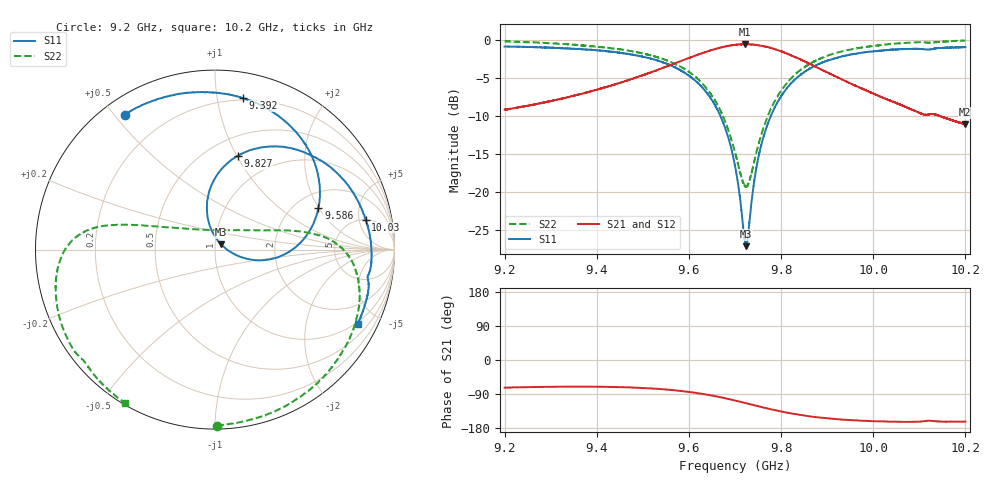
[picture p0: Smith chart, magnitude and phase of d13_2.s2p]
!Agilent Technologies,N5242A,MY51221714,A.09.90.19
!Agilent N5242A: A.09.90.19
!Date: Saturday, March 16, 2024 08:43:19
!Correction: S11(Full 2 Port(1,2))
!S21(Full 2 Port(1,2))
!S12(Full 2 Port(1,2))
!S22(Full 2 Port(1,2))
!S2P File: Measurements: S11, S21, S12, S22:
# Hz S  dB  R 50
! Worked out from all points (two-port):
!   16001 points, 9.2 GHz to 10.2 GHz, reference 50 ohm
!   highest |S21| = -0.57 dB at 9.722 GHz (marker M1); lowest = -11.1 dB at 10.2 GHz (marker M2)
!   |S21| within 3 dB of the highest: 9.548244 GHz to 9.548255 GHz (11.58 kHz wide, 0.000121 % of centre); 9.549 GHz to 9.876 GHz (327.9 MHz wide, 3.38 % of centre)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
!   lowest |S11| = -27.1 dB at 9.724 GHz (marker M3), VSWR 1.09, Z = 53.4 + j3.12 ohm
!   |S11| at or under -10 dB: 9.669 GHz to 9.778 GHz (109.1 MHz wide, 1.12 % of centre)
!   |S22| runs from -19.3 to -0.1 dB; largest |S21 - S12| = 0.0095
!   S11 on the Smith chart (normalised r, x): 9.2 GHz: 0.06, +0.53; 9.392 GHz: 0.18, +1.19; 9.586 GHz: 2.63, +1.99; 9.827 GHz: 0.69, +1.01; 10.03 GHz: 4.99, +6.24; 10.2 GHz: 0.93, -3.90
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9.2e9  -0.88 123.8  -9.16 -72.9  -9.16 -73.3  -0.17 -89.4
9.279625e9  -0.99 106.1  -8.28 -71.1  -8.28 -71.4  -0.37 -67.1
9.366688e9  -1.23 85.8  -7.09 -70.4  -7.06 -70.7  -0.71 -43.7
9.391688e9  -1.32 79.5  -6.68 -70.5  -6.67 -70.8  -0.86 -37.2
9.461125e9  -1.78 61.2  -5.42 -72.0  -5.42 -72.3  -1.34 -20.3
9.533375e9  -2.74 39.8  -3.91 -76.2  -3.91 -76.6  -2.31 -5.0
9.586e9  -4.14 22.0  -2.69 -82.2  -2.70 -82.4  -3.65 4.2
9.658312e9  -8.75 -5.9  -1.18 -95.8  -1.17 -96.1  -8.11 15.9
9.7e9  -16.48 -15.8  -0.65 -106.9  -0.64 -107.3  -14.76 36.1
9.721875e9  -26.60 28.3  -0.57 -113.4  -0.56 -113.8  -19.22 83.3
9.723688e9  -27.06 41.2  -0.59 -113.9  -0.56 -114.4  -19.25 88.7
9.745625e9  -17.07 102.3  -0.66 -120.6  -0.66 -121.0  -14.97 140.2
9.762938e9  -12.51 101.1  -0.83 -125.7  -0.83 -126.1  -11.34 153.4
9.7905e9  -8.38 91.4  -1.30 -133.3  -1.30 -133.8  -7.58 161.3
9.82675e9  -5.39 76.4  -2.15 -142.0  -2.15 -142.4  -4.74 166.2
9.866688e9  -3.62 60.7  -3.29 -149.4  -3.28 -149.8  -3.00 170.8
9.950375e9  -1.93 32.6  -5.71 -158.7  -5.72 -159.0  -1.27 -176.1
1.002819e10  -1.35 11.2  -7.76 -162.4  -7.77 -162.8  -0.61 -160.8
1.003338e10  -1.33 9.9  -7.89 -162.5  -7.89 -162.9  -0.57 -159.6
1.010544e10  -1.20 -7.7  -9.70 -162.2  -9.70 -162.5  -0.30 -143.8
1.019962e10  -0.96 -27.3  -11.08 -162.4  -11.07 -162.9  -0.09 -120.4
1.02e10  -0.95 -27.4  -11.07 -162.4  -11.07 -162.9  -0.08 -120.2
